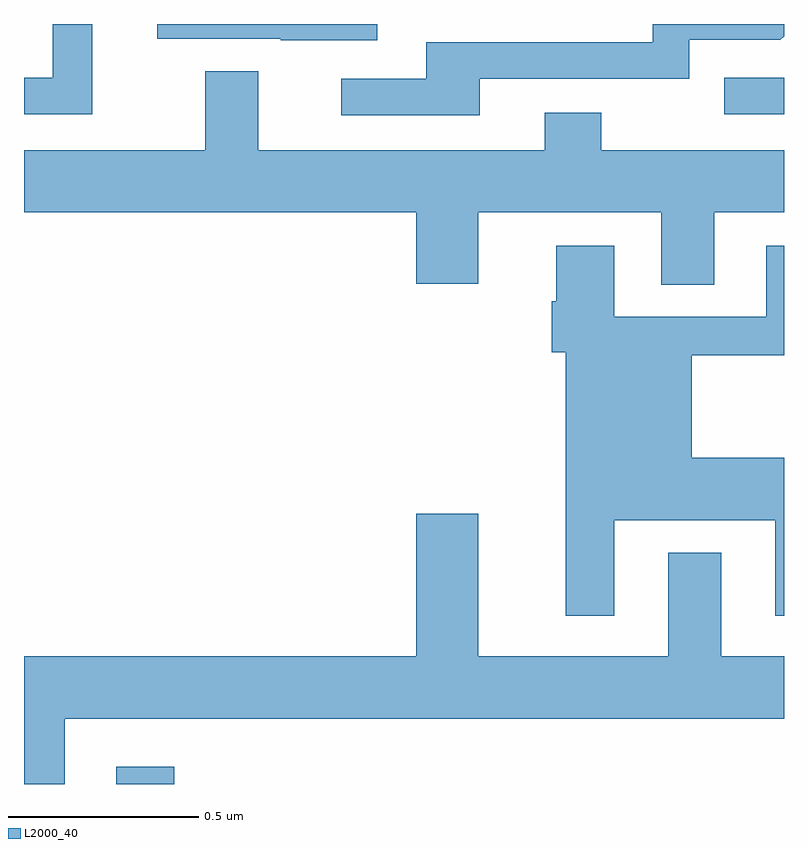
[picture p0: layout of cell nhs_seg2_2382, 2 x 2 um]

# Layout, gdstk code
import gdstk
lib = gdstk.Library(unit=1e-6, precision=1e-09)
def R(c, l, rs):  # rectangles x0, y0, x1, y1
    for r in rs: c.add(gdstk.rectangle(r[:2], r[2:], *l))
def P(c, l, *ps):  # polygons
    for p in ps: c.add(gdstk.Polygon(p, *l))
L2000_40 = (2000, 40)

nhs_seg2_2382 = lib.new_cell('nhs_seg2_2382')
R(nhs_seg2_2382, L2000_40, [(140.243,644.8,140.396,644.845), (141.843,646.563,142,646.659)])
P(nhs_seg2_2382, L2000_40, [(141.199,646.656),(141.75,646.656),(141.75,646.758),(141.99,646.758),(142,646.768),(142,646.8),(141.654,646.8),(141.654,646.752),(141.059,646.752),(141.059,646.656),(140.835,646.656),(140.835,646.56),(141.199,646.56)],
  [(140.929,646.8),(140.351,646.8),(140.351,646.761),(140.675,646.761),(140.675,646.757),(140.929,646.757)],
  [(140.179,646.8),(140.075,646.8),(140.075,646.659),(140,646.659),(140,646.563),(140.179,646.563)],
  [(141.817,646.304),(142,646.304),(142,646.468),(141.519,646.468),(141.519,646.567),(141.371,646.567),(141.371,646.468),(140.617,646.468),(140.617,646.676),(140.477,646.676),(140.477,646.468),(140,646.468),(140,646.304),(141.032,646.304),(141.032,646.116),(141.196,646.116),(141.196,646.304),(141.677,646.304),(141.677,646.114),(141.817,646.114)],
  [(141.553,645.494),(141.977,645.494),(141.977,645.243),(142,645.243),(142,645.658),(141.757,645.658),(141.757,645.928),(142,645.928),(142,646.216),(141.953,646.216),(141.953,646.029),(141.553,646.029),(141.553,646.216),(141.401,646.216),(141.401,646.07),(141.389,646.07),(141.389,645.936),(141.425,645.936),(141.425,645.243),(141.553,645.243)],
  [(140.107,644.972),(142,644.972),(142,645.136),(141.835,645.136),(141.835,645.409),(141.695,645.409),(141.695,645.136),(141.196,645.136),(141.196,645.511),(141.032,645.511),(141.032,645.136),(140,645.136),(140,644.8),(140.107,644.8)])

lib.write_gds('nhs_seg2_2382.gds')
